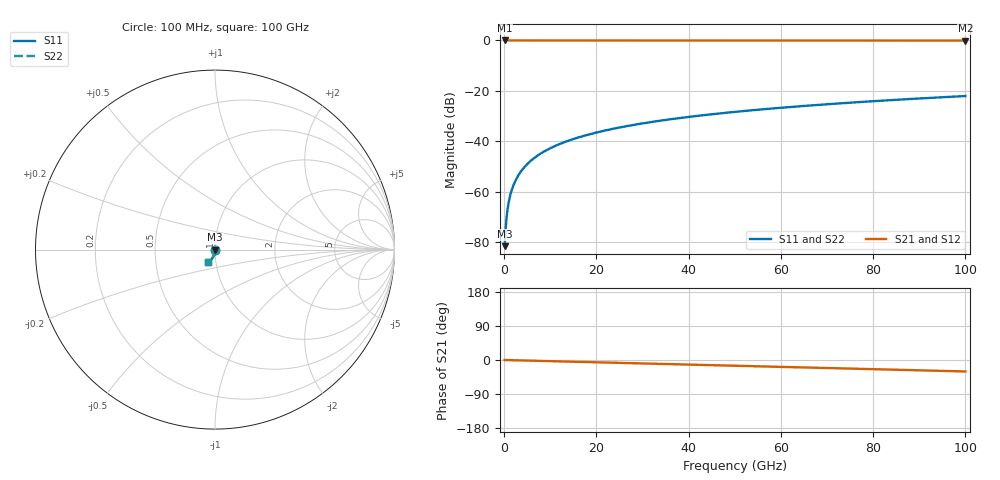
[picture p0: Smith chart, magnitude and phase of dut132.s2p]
! Touchstone file exported from HFSS 2026.1.0
!  File:  C:/ffzhzh/LocalFiles/Ansys_Project_Files/temp_train_TSV_132_1783506319_55944.aedt
!  Generated:  06:26:28 PM Jul  8, 2026
!  Design:  TSV
!  Project:  temp_train_TSV_132_1783506319_55944
! Variables:
!  h_bsmrdl = 2um
!  h_ox = 20um
!  h_rdl = 5um
!  h_sub = 57.73um
!  h_tmrdl = 5um
!  h_tsv = 57.73um
!  h_via = 3um
!  l_bsmrdl = 300um
!  l_sub = 425.64um
!  l_tmrdl = 200um
!  m_sub = 200um
!  pitch = 44.5um
!  r_tsv = 12.82um
!  s_tmrdl = 10um
!  w_bsmrdl = 18um
!  w_sub = 500um
!  w_tmrdl = 12um
!  x_tsv_center1 = 206um
!  x_tsv_center2 = 524um
!  x_tsv_center3 = 736um
!  x_tsv_center4 = 1054um
!  x_tsv_center5 = 1266um
!  x_tsv_center6 = 1584um
# GHz S MA R 50.000000
! Terminal data exported
! Port[1] = TSV1_1_T1
! Port[2] = TSV1_1_T2
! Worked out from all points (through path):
!   1000 points, 100 MHz to 100 GHz, reference 50 ohm
!   highest |S21| = 0.00 dB at 100 MHz (marker M1); lowest = 0.0 dB at 100 GHz (marker M2)
!   group delay of S21, straight-line fit = 839 fs
!   lowest |S11| = -81.5 dB at 100 MHz (marker M3), VSWR 1.00, Z = 50 - j0.00425 ohm
!   |S11| at or under -10 dB: start of sweep to end of sweep
!   |S22| runs from -81.5 to -22.0 dB; largest |S21 - S12| = 1.8e-15
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0.1  8.38e-05 -30.5  0.9999 -0.0  0.9999 -0.0  8.38e-05 -30.5
! Gamma 0 0 0 0
! Port Impedance 50 0 50 0
0.4  0.000229 -59.7  0.9999 -0.1  0.9999 -0.1  0.000229 -59.7
0.8  0.0004916 -69.7  0.9998 -0.2  0.9998 -0.2  0.0004916 -69.7
0.9  0.0005605 -71.2  0.9998 -0.3  0.9998 -0.3  0.0005605 -71.2
1.2  0.0007693 -74.5  0.9998 -0.4  0.9998 -0.4  0.0007693 -74.5
1.5  0.00098 -76.7  0.9998 -0.5  0.9998 -0.5  0.00098 -76.7
2  0.001335 -79.1  0.9997 -0.6  0.9997 -0.6  0.001335 -79.1
2.5  0.001695 -80.6  0.9997 -0.8  0.9997 -0.8  0.001695 -80.6
3.2  0.002205 -82.1  0.9997 -1.0  0.9997 -1.0  0.002205 -82.1
4  0.002796 -83.4  0.9996 -1.2  0.9996 -1.2  0.002796 -83.4
5  0.003542 -84.6  0.9996 -1.5  0.9996 -1.5  0.003542 -84.6
6.1  0.004366 -85.7  0.9995 -1.9  0.9995 -1.9  0.004366 -85.7
8.9  0.006479 -87.6  0.9994 -2.7  0.9994 -2.7  0.006479 -87.6
12.4  0.009137 -89.4  0.9993 -3.8  0.9993 -3.8  0.009137 -89.4
16.8  0.01251 -91.4  0.9991 -5.1  0.9991 -5.1  0.01251 -91.4
24.1  0.01814 -94.3  0.9989 -7.3  0.9989 -7.3  0.01814 -94.3
33.4  0.02536 -97.6  0.9985 -10.1  0.9985 -10.1  0.02536 -97.6
41.2  0.03146 -100.2  0.9982 -12.4  0.9982 -12.4  0.03146 -100.2
50.1  0.03847 -103.1  0.9978 -15.1  0.9978 -15.1  0.03847 -103.1
66.7  0.05175 -108.4  0.997 -20.1  0.997 -20.1  0.05175 -108.3
83.4  0.06537 -113.6  0.996 -25.2  0.996 -25.2  0.06537 -113.6
100  0.07911 -119.0  0.9946 -30.2  0.9946 -30.2  0.07911 -119.0
